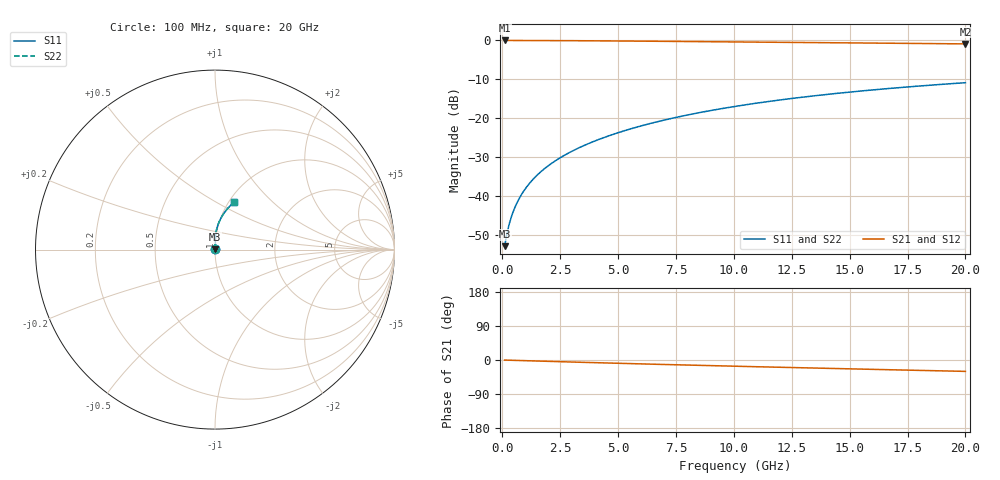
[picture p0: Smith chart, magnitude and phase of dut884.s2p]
! Touchstone file exported from HFSS 2024.1.0
!  File:  C:/UserFiles/LocalFiles/RDL_TSV_Batchsim/temp_RDL_top_884_1779856917.aedt
!  Generated:  12:44:09 PM May 27, 2026
!  Design:  RDL_top
!  Project:  temp_RDL_top_884_1779856917
!  Setup:  Setup1
!  Solution:  Sweep
! Variables:
!  dtsv = 10.80580581um
!  hbump = 3um
!  htsv = 93um
!  ldown = 100um
!  lrdl = 398.54um
!  p = 40
!  p1 = 55.63um
!  rhole = 1um
!  t = 450um
!  tdown = 3.915915916um
!  trdl = 3.48um
!  wdown = 15.38538539um
!  wrdl = 25.74um
# GHz S MA R 50.000000
! Terminal data exported
! Port[1] = Box2_T1
! Port[2] = Box2_T2
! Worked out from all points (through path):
!   200 points, 100 MHz to 20 GHz, reference 50 ohm
!   highest |S21| = -0.02 dB at 100 MHz (marker M1); lowest = -0.9 dB at 20 GHz (marker M2)
!   group delay of S21, straight-line fit = 4.12 ps
!   lowest |S11| = -52.9 dB at 100 MHz (marker M3), VSWR 1.00, Z = 50.2 + j0.136 ohm
!   |S11| at or under -10 dB: start of sweep to end of sweep
!   |S22| runs from -52.9 to -10.9 dB; largest |S21 - S12| = 5.3e-15
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0.1  0.002264 36.9  0.9982 -0.2  0.9982 -0.2  0.002264 36.9
! Gamma 0 0 0 0
! Port Impedance 50 0 50 0
0.2  0.003269 54.3  0.9981 -0.4  0.9981 -0.4  0.003269 54.3
0.3  0.004373 62.7  0.9979 -0.6  0.9979 -0.6  0.004373 62.7
0.4  0.005495 67.9  0.9978 -0.7  0.9978 -0.7  0.005495 67.9
0.5  0.006627 71.4  0.9977 -0.9  0.9977 -0.9  0.006627 71.4
0.6  0.007771 74.0  0.9975 -1.1  0.9975 -1.1  0.007771 74.0
0.8  0.01009 77.7  0.9973 -1.5  0.9973 -1.5  0.01009 77.7
1.1  0.01364 81.1  0.9968 -2.0  0.9968 -2.0  0.01364 81.1
1.3  0.01605 82.6  0.9965 -2.3  0.9965 -2.3  0.01605 82.6
1.6  0.0197 84.2  0.9959 -2.9  0.9959 -2.9  0.0197 84.2
2.1  0.02592 86.0  0.9947 -3.8  0.9947 -3.8  0.02591 86.0
2.7  0.03357 87.2  0.9928 -4.8  0.9928 -4.8  0.03357 87.2
3.5  0.04414 88.0  0.9898 -6.2  0.9898 -6.2  0.04414 88.0
4.2  0.05373 88.3  0.9868 -7.4  0.9868 -7.4  0.05372 88.3
5  0.06505 88.2  0.983 -8.7  0.983 -8.7  0.06504 88.2
6.8  0.09165 87.0  0.9736 -11.6  0.9736 -11.6  0.09164 87.0
8.4  0.1161 85.2  0.9649 -14.0  0.9649 -14.0  0.1161 85.2
10.1  0.1424 82.9  0.9556 -16.5  0.9556 -16.5  0.1424 82.9
11.7  0.1671 80.4  0.947 -18.8  0.947 -18.8  0.167 80.5
13.4  0.1928 77.8  0.9378 -21.2  0.9378 -21.2  0.1928 77.8
16.7  0.2409 72.7  0.9199 -25.7  0.9199 -25.7  0.2409 72.7
20  0.2858 67.8  0.9018 -30.0  0.9018 -30.0  0.2858 67.8
